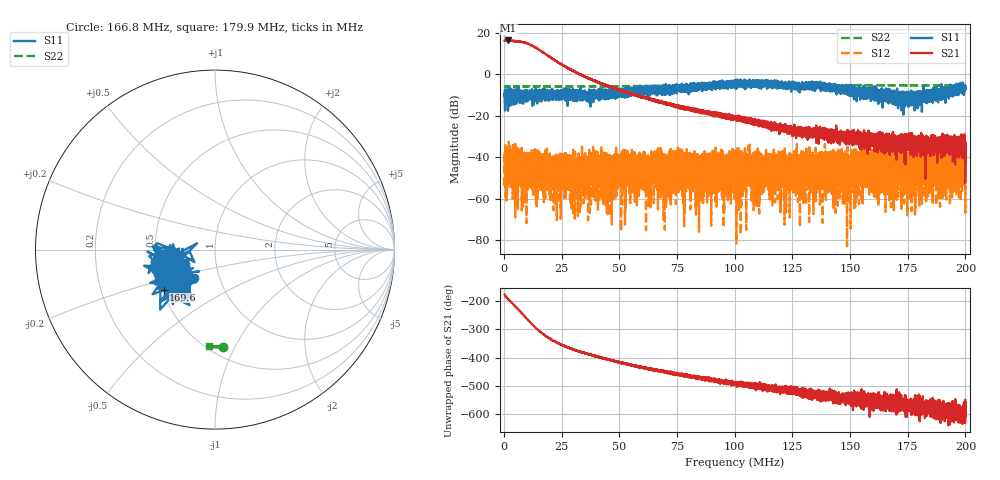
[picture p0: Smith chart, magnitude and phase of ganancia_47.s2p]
# Hz S DB R 50
! CMT, M5065, 19127446, 24.2.4/2
! Date: 10/29/2024 12:43:31 PM
! Data: Format (Calibration Info)
! Freq	S11:dB/Ang(F2)	S21:dB/Ang(F2)	S12:dB/Ang(F2)	S22:dB/Ang(F2)
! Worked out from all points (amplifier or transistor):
!   9000 points, 300 kHz to 200 MHz, reference 50 ohm
!   highest |S21| = 16.3 dB at 1.964 MHz (marker M1)
!   |S21| within 3 dB of that: start of sweep to 13.03 MHz
!   unconditionally stable (mu >= 1): start of sweep to end of sweep
!   at 33.59 MHz: K = 137.66, MAG = 1.3 dB, |S12| = -51.9 dB
!   at 100.2 MHz: K = 187.57, MAG = -16.1 dB, |S12| = -39.8 dB
!   at 200 MHz: K = 3039.17, MAG = -40.4 dB, |S12| = -38.0 dB
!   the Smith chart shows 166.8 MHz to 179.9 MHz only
!   S11 on the Smith chart (normalised r, x): 166.8 MHz: 0.76, -0.25; 169.6 MHz: 0.51, -0.26; 179.9 MHz: 0.63, -0.02
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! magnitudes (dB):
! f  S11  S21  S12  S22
! 300 kHz  -10.1  16.1  -43.7  -6.0
! 1.964 MHz  -6.3  16.3  -40.2  -5.9
! 11.44 MHz  -8.7  14.2  -48.7  -5.9
! 33.59 MHz  -9.9  -0.4  -51.9  -5.9
! 44.64 MHz  -8.3  -5.5  -44.4  -5.8
! 49.59 MHz  -7.5  -7.7  -44.5  -5.8
! 62.77 MHz  -7.8  -12.1  -47.7  -5.7
! 66.87 MHz  -7.6  -13.1  -42.0  -5.7
! 70.07 MHz  -8.3  -14.0  -48.8  -5.7
! 79.79 MHz  -5.4  -16.5  -44.2  -5.7
! 83.7 MHz  -5.6  -17.2  -54.1  -5.7
! 100.2 MHz  -2.9  -20.6  -39.8  -5.6
! 119.5 MHz  -5.0  -24.5  -41.8  -5.5
! 133.4 MHz  -5.9  -28.0  -43.9  -5.3
! 152.3 MHz  -7.7  -31.4  -46.1  -5.2
! 157.3 MHz  -11.8  -31.9  -54.0  -5.3
! 166.7 MHz  -7.4  -30.2  -39.2  -5.3
! 166.8 MHz  -14.2  -31.0  -47.2  -5.3
! 169.6 MHz  -8.8  -32.5  -39.0  -5.4
! 179.9 MHz  -13.0  -37.0  -50.4  -5.4
! 198.7 MHz  -6.1  -37.6  -41.5  -5.5
! 200 MHz  -6.0  -43.1  -38.0  -5.5
